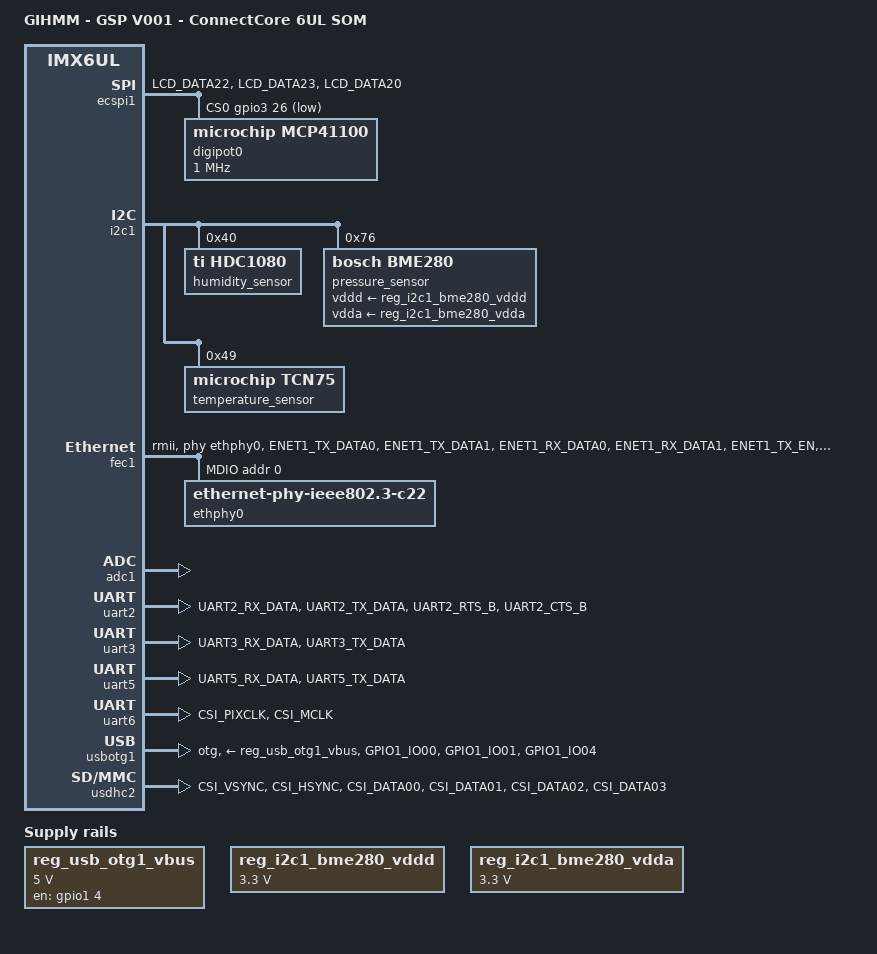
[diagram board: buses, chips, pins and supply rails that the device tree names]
/*
 * Device tree for GIHMM GSP V001 - FPGA-UART
 */

/dts-v1/;
#include <dt-bindings/input/input.h>
#include <dt-bindings/interrupt-controller/irq.h>
/* i.MX6 UltraLite CPU */
#include "imx6ul.dtsi"
/* ConnectCore 6UL (wireless/bluetooth variant) */
#include "imx6ul-ccimx6ul-wb.dtsi"

/ {
	// Add here your platform model.
	model = "GIHMM - GSP V001 - ConnectCore 6UL SOM";
	// Add here your compatible platform.
	compatible = "gihmm,gsp-ctrl", "gihmm,cc-wmx-mod", "digi,ccimx6ul", "fsl,imx6ul";

	reg_usb_otg1_vbus: reg_usb_otg1@0 {
		compatible = "regulator-fixed";
		regulator-name = "usb_otg1_vbus";
		regulator-min-microvolt = <5000000>;
		regulator-max-microvolt = <5000000>;
		gpio = <&gpio1 4 GPIO_ACTIVE_HIGH>;
		enable-active-high;
	};

	reg_i2c1_bme280_vddd: reg_i2c1_bme280_1 {
		compatible = "regulator-fixed";
		regulator-name = "vddd";
		regulator-min-microvolt = <3300000>;
      	regulator-max-microvolt = <3300000>;
      	regulator-always-on;
	};

	reg_i2c1_bme280_vdda: reg_i2c1_bme280_2 {
		compatible = "regulator-fixed";
		regulator-name = "vdda";
		regulator-min-microvolt = <3300000>;
      	regulator-max-microvolt = <3300000>;
      	regulator-always-on;
	};
};

&ecspi1 {
	num-cs = <1>;
	pinctrl-names = "default";
	status = "okay";

	/*
	 * Configure the GPIO that you selected as 'slave select'.
	 */
	cs-gpios = <&gpio3 26 GPIO_ACTIVE_LOW>;

	/*
	 * ECSPI1 (as master)
	 */
	pinctrl-0 = <&pinctrl_ecspi1>;

	/*
	 * Reference block.
	 *
	 * Add your slave devices here. Next is an example of spidev.
	 * Expect a harmless kernel warning if you enable spidev as slave.
	 */
	//spidev@0 {
	//	reg = <0>;
	//	compatible = "spidev";
	//	spi-max-frequency = <1000000>;
	//	status = "okay";
	//};

	digipot0: pot@0{
		reg = <0>;
		spi-max-frequency = <1000000>;
		compatible = "microchip,mcp41100", "spidev";
		status = "okay";
	};

};

&i2c1 {

	humidity_sensor: hdc1080@40{
		compatible = "ti,hdc1080";
		reg = <0x40>;
		status = "okay";
	};

	pressure_sensor: BME280@76{
		compatible = "bosch,bme280";
		reg = <0x76>;
		vddd-supply = <&reg_i2c1_bme280_vddd>;
        vdda-supply = <&reg_i2c1_bme280_vdda>;
		status = "okay";
	};

	//Missing Device Driver for TCN75
	temperature_sensor: TCN75@49{
		compatible = "microchip,tcn75";
		reg = <0x49>;
		status = "okay";
	};
};

&fec1 {
	pinctrl-names = "default";
	pinctrl-0 = <&pinctrl_enet0>, <&pinctrl_enet_mdio>;
	phy-mode = "rmii";
	phy-handle = <&ethphy0>;

	/*
	 * Optional fields.
	 *
	 * Configure the PHY reset with a GPIO in your design.
	 */
	phy-reset-gpios = <&gpio5 6 GPIO_ACTIVE_LOW>;
	phy-reset-duration = <26>;
	digi,phy-reset-in-suspend;

	status = "okay";
	mdio {
		#address-cells = <1>;
		#size-cells = <0>;

		ethphy0: ethernet-phy@0 {
			compatible = "ethernet-phy-ieee802.3-c22";

			/*
			 * Add your custom PHY configuration.
			 */
			smsc,disable-energy-detect;
			reg = <0>;
		};

		//ethphy2: ethernet-phy@1 {
		//	compatible = "ethernet-phy-ieee802.3-c22";

			/*
			 * Add your custom PHY configuration.
			 */
			//smsc,disable-energy-detect;
		//	reg = <1>;
		//};
	};
};

&mca_adc {
	digi,adc-ch-list = <3 4 5>;

	/*
	 * ADC reference voltage. Use:
	 *   - digi,adc-vref: Value in uV that corresponds with the VCC_MCA voltage.
	 *   - digi,internal-vref: If present, the internal 1.2 V reference is used.
	 *     This forces MCA_IO2/EXT_VREF to be configured as a 1.2 V output, and a
	 *     100 nF capacitor must be placed between this line and GND.
	 *     If this property is set, the value in 'digi,adc-vref' is ignored.
	 */
	digi,adc-vref = <3300000>;
	//digi,internal-vref;
};

&adc1 {
    pinctrl-names = "default";
    adc-ch-list = <5>;
    status = "okay";
};

&uart2 {
	pinctrl-names = "default";
	pinctrl-0 = <&pinctrl_uart2>;

	//uart-has-rtscts;

	status = "okay";
};

&uart3 {
	pinctrl-names = "default";
	pinctrl-0 = <&pinctrl_uart3>;

	status = "okay";
};

&uart5 {
	pinctrl-names = "default";
	pinctrl-0 = <&pinctrl_console>;
	status = "okay";
};

&uart6 {
	pinctrl-names = "default";
	pinctrl-0 = <&pinctrl_uart6>;

	status = "okay";
};

&usbotg1 {
	dr_mode = "otg";

	/* Set the proper voltage regulator. */
	vbus-supply = <&reg_usb_otg1_vbus>;

	/*
	 * Configure the power line if needed.
	 */
	digi,power-line-active-high;

	/*
	 * Configure the overcurrent line if needed.
	 */
	//disable-over-current;

	pinctrl-0 = <&pinctrl_usbotg1>;

	status = "okay";
};

&usdhc2 {
	pinctrl-names = "default";
	pinctrl-0 = <&pinctrl_usdhc2>;
	broken-cd;      /* no carrier detect line (use polling) */
	no-1-8-v;
	status = "okay";
};

&iomuxc {
	pinctrl-names = "default";
	pinctrl-0 = <&pinctrl_hog>;

	imx6ul-ccimx6ul {
		pinctrl_console: uart5grp {
			fsl,pins = <
				MX6UL_PAD_UART5_RX_DATA__UART5_DCE_RX		0x1b0b1
				MX6UL_PAD_UART5_TX_DATA__UART5_DCE_TX		0x1b0b1
			>;
		};

		pinctrl_ecspi1: ecspi1grp1 {
			fsl,pins = <
				MX6UL_PAD_LCD_DATA22__ECSPI1_MOSI		0x10b0
				MX6UL_PAD_LCD_DATA23__ECSPI1_MISO		0x10b0
				MX6UL_PAD_LCD_DATA20__ECSPI1_SCLK		0x10b0
			>;
		};

		pinctrl_enet0: enet1grp {
			fsl,pins = <
				MX6UL_PAD_ENET1_TX_DATA0__ENET1_TDATA00		0x1b0b0
				MX6UL_PAD_ENET1_TX_DATA1__ENET1_TDATA01		0x1b0b0
				MX6UL_PAD_ENET1_RX_DATA0__ENET1_RDATA00		0x1b0b0
				MX6UL_PAD_ENET1_RX_DATA1__ENET1_RDATA01		0x1b0b0
				MX6UL_PAD_ENET1_TX_EN__ENET1_TX_EN		0x1b0b0
				MX6UL_PAD_ENET1_TX_CLK__ENET1_REF_CLK1		0x4001b031
				MX6UL_PAD_ENET1_RX_EN__ENET1_RX_EN		0x1b0b0
				MX6UL_PAD_ENET1_RX_ER__ENET1_RX_ER		0x1b0b0
			>;
		};

		pinctrl_enet_mdio: mdioenetgrp {
			fsl,pins = <
				MX6UL_PAD_GPIO1_IO07__ENET1_MDC		0x1b0b0
				MX6UL_PAD_GPIO1_IO06__ENET1_MDIO		0x1b0b0
			>;
		};

		pinctrl_hog: hoggrp {
			fsl,pins = <
				/* ENET 0_INT# */
				MX6UL_PAD_GPIO1_IO08__GPIO1_IO08		0x10b0
				/* SPI 0 - CS */
				MX6UL_PAD_LCD_DATA21__GPIO3_IO26		0x10b0
				/* ENET_Pwr */
				MX6UL_PAD_LCD_HSYNC__GPIO3_IO02		0x10b0
				/* ReedSwitch */
				MX6UL_PAD_LCD_VSYNC__GPIO3_IO03		0x10b0
				/* HVon */
				MX6UL_PAD_LCD_DATA08__GPIO3_IO13		0x10b0
				/* inhibit */
				MX6UL_PAD_LCD_DATA09__GPIO3_IO14		0x10b0
				/* Addr0 */
				MX6UL_PAD_LCD_DATA15__GPIO3_IO20		0x10b0
				/* Addr1 */
				MX6UL_PAD_LCD_DATA16__GPIO3_IO21		0x10b0
				/* Addr2 */
				MX6UL_PAD_LCD_DATA17__GPIO3_IO22		0x10b0
				/* Comm422 */
				MX6UL_PAD_LCD_DATA18__GPIO3_IO23		0x10b0
				/* Comm485 */
				MX6UL_PAD_LCD_DATA19__GPIO3_IO24		0x10b0
				/* RS_Select */
				MX6UL_PAD_GPIO1_IO09__GPIO1_IO09		0x10b0
				/* 422_EN_485 */
				MX6UL_PAD_UART3_CTS_B__GPIO1_IO26		0x10b0
				/* 422_EN */
				MX6UL_PAD_UART3_RTS_B__GPIO1_IO27		0x10b0
				/* Spare2 */
				MX6UL_PAD_CSI_DATA05__GPIO4_IO26		0x10b0
				/* Spare3 */
				MX6UL_PAD_CSI_DATA04__GPIO4_IO25		0x10b0
				/* Spare4 */
				MX6UL_PAD_SNVS_TAMPER1__GPIO5_IO01		0x10b0
				/* Spare5 */
				MX6UL_PAD_SNVS_TAMPER5__GPIO5_IO05		0x10b0
			>;
		};

		pinctrl_uart2: uart2grp {
			fsl,pins = <
				MX6UL_PAD_UART2_RX_DATA__UART2_DCE_RX		0x1b0b1
				MX6UL_PAD_UART2_TX_DATA__UART2_DCE_TX		0x1b0b1
				MX6UL_PAD_UART2_RTS_B__UART2_DCE_RTS		0x1b0b1
				MX6UL_PAD_UART2_CTS_B__UART2_DCE_CTS		0x1b0b1
			>;
		};

		pinctrl_uart3: uart3grp {
			fsl,pins = <
				MX6UL_PAD_UART3_RX_DATA__UART3_DCE_RX		0x1b0b1
				MX6UL_PAD_UART3_TX_DATA__UART3_DCE_TX		0x1b0b1
			>;
		};

		pinctrl_uart6: uart6grp {
			fsl,pins = <
				MX6UL_PAD_CSI_PIXCLK__UART6_DCE_RX		0x1b0b1
				MX6UL_PAD_CSI_MCLK__UART6_DCE_TX		0x1b0b1
			>;
		};

		pinctrl_usbotg1: usbotg1grp {
			fsl,pins = <
				MX6UL_PAD_GPIO1_IO00__ANATOP_OTG1_ID		0x17059
				MX6UL_PAD_GPIO1_IO01__USB_OTG1_OC		0x17059
				MX6UL_PAD_GPIO1_IO04__USB_OTG1_PWR		0x17059
			>;
		};

		pinctrl_usdhc2: usdhc2grp {
			fsl,pins = <
				MX6UL_PAD_CSI_VSYNC__USDHC2_CLK		0x10039
				MX6UL_PAD_CSI_HSYNC__USDHC2_CMD		0x17059
				MX6UL_PAD_CSI_DATA00__USDHC2_DATA0		0x17059
				MX6UL_PAD_CSI_DATA01__USDHC2_DATA1		0x17059
				MX6UL_PAD_CSI_DATA02__USDHC2_DATA2		0x17059
				MX6UL_PAD_CSI_DATA03__USDHC2_DATA3		0x17059
			>;
		};
	};
};
